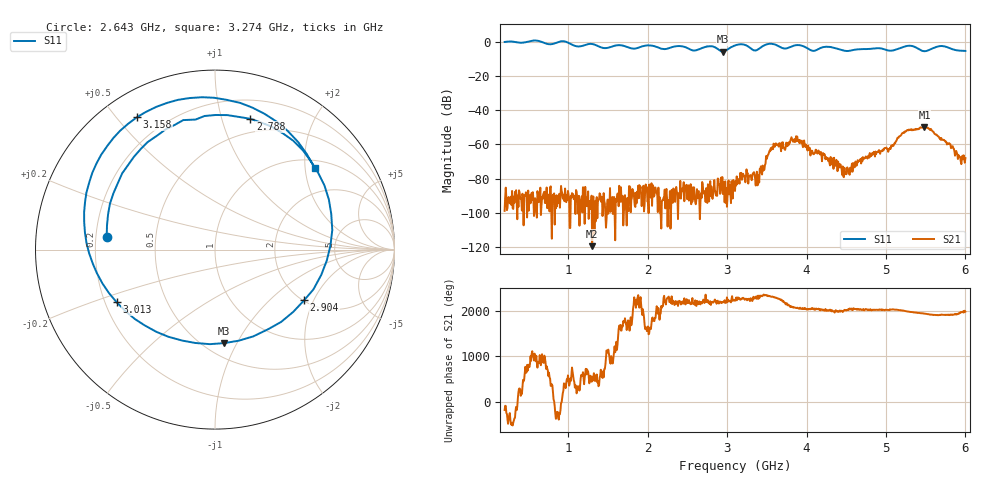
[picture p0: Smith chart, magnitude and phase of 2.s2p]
! NanoVNA-App by OneOfEleven et al v1.1.209 (+OD15)
! Date: 2024-07-30 15:17:39
! Start: 200MHz Stop: 6GHz Points: 801
! S-Parameter data: F S11 S21 S12 S22
# Hz S RI R 50
!  Frequency  S11_Real  S11_Imag  S21_Real  S21_Imag  S12_Real  S12_Imag  S22_Real  S22_Imag
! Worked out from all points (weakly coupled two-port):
!   801 points, 200 MHz to 6 GHz, reference 50 ohm
!   highest |S21| = -49.86 dB at 5.485 GHz (marker M1); lowest = -119.6 dB at 1.302 GHz (marker M2)
!   lowest |S11| = -5.6 dB at 2.948 GHz (marker M3), VSWR 3.20, Z = 30.9 - j44.4 ohm
!   |S11| at or under -10 dB: nowhere
!   S12 and S22 are empty: the file has one direction only
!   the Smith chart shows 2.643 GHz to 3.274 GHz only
!   S11 on the Smith chart (normalised r, x): 2.643 GHz: 0.24, +0.05; 2.788 GHz: 0.37, +1.24; 2.904 GHz: 2.02, -1.70; 3.013 GHz: 0.25, -0.24; 3.158 GHz: 0.10, +0.57; 3.274 GHz: 1.19, +2.25
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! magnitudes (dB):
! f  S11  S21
! 200 MHz  0.0  -99.0
! 1.171 GHz  -2.3  -90.4
! 1.302 GHz  -1.1  -119.6
! 2.136 GHz  -3.2  -85.3
! 2.643 GHz  -4.3  -87.4
! 2.788 GHz  -2.4  -81.5
! 2.904 GHz  -4.9  -83.5
! 2.948 GHz  -5.6  -89.1
! 3.013 GHz  -4.1  -82.2
! 3.1 GHz  -2.0  -87.3
! 3.158 GHz  -1.3  -83.0
! 3.274 GHz  -2.9  -79.4
! 3.412 GHz  -3.6  -74.3
! 3.615 GHz  -1.7  -59.3
! 3.897 GHz  -1.8  -57.9
! 4.072 GHz  -5.1  -63.7
! 4.478 GHz  -5.1  -73.7
! 5.036 GHz  -5.0  -62.8
! 5.239 GHz  -2.6  -52.4
! 5.485 GHz  -5.4  -49.9
! 5.696 GHz  -2.3  -56.2
! 6 GHz  -5.2  -68.0
